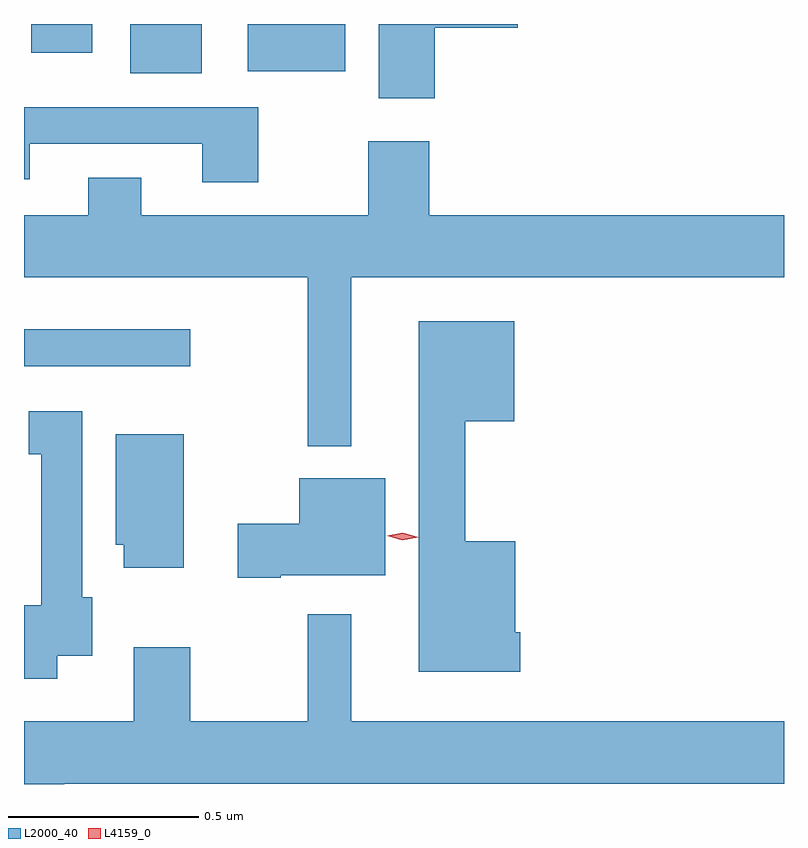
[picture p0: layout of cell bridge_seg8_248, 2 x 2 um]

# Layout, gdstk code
import gdstk
lib = gdstk.Library(unit=1e-6, precision=1e-09)
def R(c, l, rs):  # rectangles x0, y0, x1, y1
    for r in rs: c.add(gdstk.rectangle(r[:2], r[2:], *l))
def P(c, l, *ps):  # polygons
    for p in ps: c.add(gdstk.Polygon(p, *l))
L2000_40 = (2000, 40)
L4159_0 = (4159, 0)

bridge_seg8_248 = lib.new_cell('bridge_seg8_248')
R(bridge_seg8_248, L2000_40, [(330.472,1092.291,330.91,1092.388), (330.752,1093.061,330.94,1093.191), (331.061,1093.067,331.318,1093.191), (330.491,1093.116,330.652,1093.191)])
P(bridge_seg8_248, L2000_40, [(331.553,1093.181),(331.771,1093.181),(331.771,1093.191),(331.406,1093.191),(331.406,1092.996),(331.553,1092.996)],
  [(331.089,1092.972),(330.472,1092.972),(330.472,1092.782),(330.487,1092.782),(330.487,1092.876),(330.941,1092.876),(330.941,1092.774),(331.089,1092.774)],
  [(331.333,1092.524),(332.472,1092.524),(332.472,1092.688),(331.538,1092.688),(331.538,1092.883),(331.378,1092.883),(331.378,1092.688),(330.781,1092.688),(330.781,1092.787),(330.641,1092.787),(330.641,1092.688),(330.472,1092.688),(330.472,1092.524),(331.219,1092.524),(331.219,1092.08),(331.333,1092.08)],
  [(331.778,1091.59),(331.765,1091.59),(331.765,1091.83),(331.633,1091.83),(331.633,1092.146),(331.762,1092.146),(331.762,1092.409),(331.511,1092.409),(331.511,1091.486),(331.778,1091.486)],
  [(330.559,1091.528),(330.652,1091.528),(330.652,1091.682),(330.625,1091.682),(330.625,1092.172),(330.485,1092.172),(330.485,1092.059),(330.518,1092.059),(330.518,1091.662),(330.472,1091.662),(330.472,1091.468),(330.559,1091.468)],
  [(330.892,1092.112),(330.713,1092.112),(330.713,1091.82),(330.734,1091.82),(330.734,1091.76),(330.892,1091.76)],
  [(331.147,1091.741),(331.423,1091.741),(331.423,1091.995),(331.196,1091.995),(331.196,1091.876),(331.035,1091.876),(331.035,1091.734),(331.147,1091.734)],
  [(330.578,1091.192),(332.472,1091.192),(332.472,1091.356),(331.333,1091.356),(331.333,1091.638),(331.219,1091.638),(331.219,1091.356),(330.909,1091.356),(330.909,1091.551),(330.761,1091.551),(330.761,1091.356),(330.472,1091.356),(330.472,1091.191),(330.578,1091.191)])
P(bridge_seg8_248, L4159_0, [(331.468,1091.832),(331.428,1091.844),(331.428,1091.844),(331.428,1091.844),(331.469,1091.852),(331.509,1091.841),(331.509,1091.84),(331.509,1091.84)])

lib.write_gds('bridge_seg8_248.gds')
